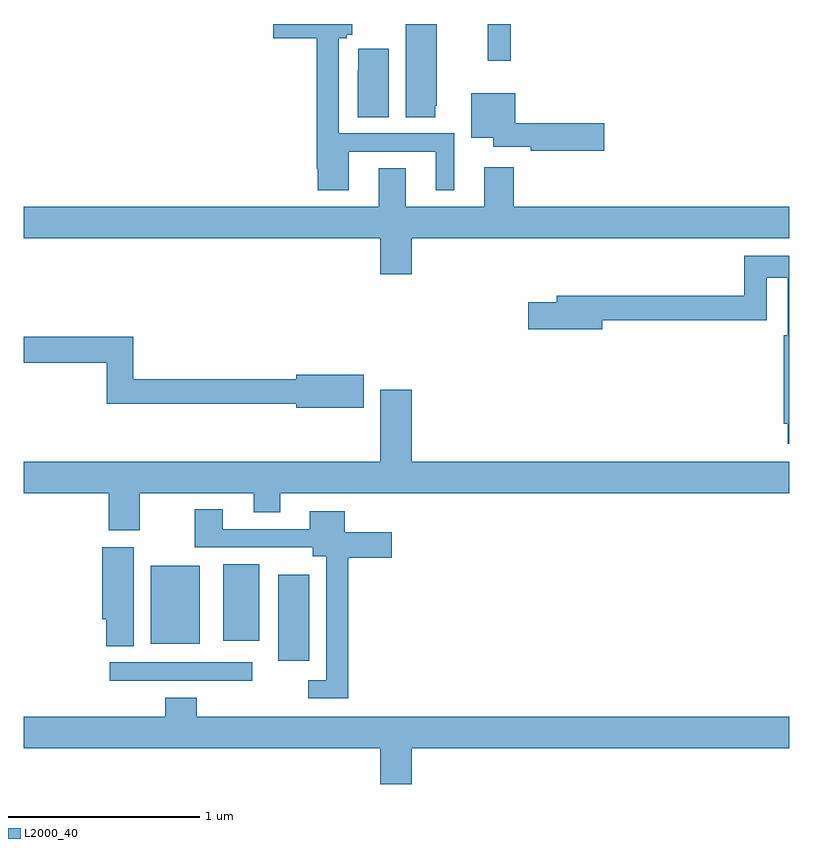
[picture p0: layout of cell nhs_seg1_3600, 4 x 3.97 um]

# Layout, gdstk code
import gdstk
lib = gdstk.Library(unit=1e-6, precision=1e-09)
def R(c, l, rs):  # rectangles x0, y0, x1, y1
    for r in rs: c.add(gdstk.rectangle(r[:2], r[2:], *l))
def P(c, l, *ps):  # polygons
    for p in ps: c.add(gdstk.Polygon(p, *l))
L2000_40 = (2000, 40)

nhs_seg1_3600 = lib.new_cell('nhs_seg1_3600')
R(nhs_seg1_3600, L2000_40, [(307.449,534.768,308.194,534.864), (308.33,534.873,308.491,535.321), (307.664,534.962,307.921,535.369), (308.042,534.977,308.23,535.375), (309.424,538.008,309.545,538.199)])
P(nhs_seg1_3600, L2000_40, [(309.151,537.771),(309.157,537.771),(309.157,538.199),(308.996,538.199),(308.996,537.712),(309.151,537.712)],
  [(308.698,537.531),(309.152,537.531),(309.152,537.33),(309.25,537.33),(309.25,537.627),(308.646,537.627),(308.646,538.124),(308.688,538.124),(308.688,538.144),(308.717,538.144),(308.717,538.199),(308.304,538.199),(308.304,538.124),(308.53,538.124),(308.53,537.442),(308.537,537.442),(308.537,537.33),(308.698,537.33)],
  [(308.908,538.069),(308.747,538.069),(308.747,537.956),(308.744,537.956),(308.744,537.712),(308.908,537.712)],
  [(310.033,537.68),(309.568,537.68),(309.568,537.838),(309.338,537.838),(309.338,537.605),(309.452,537.605),(309.452,537.557),(309.648,537.557),(309.648,537.538),(310.033,537.538)],
  [(309.028,537.08),(311,537.08),(311,537.244),(309.56,537.244),(309.56,537.451),(309.407,537.451),(309.407,537.244),(308.995,537.244),(308.995,537.446),(308.855,537.446),(308.855,537.244),(307,537.244),(307,537.08),(308.864,537.08),(308.864,536.892),(309.028,536.892)],
  [(311,536.988),(310.765,536.988),(310.765,536.779),(309.785,536.779),(309.785,536.745),(309.636,536.745),(309.636,536.603),(310.024,536.603),(310.024,536.65),(310.881,536.65),(310.881,536.872),(310.992,536.872),(310.992,536.573),(310.972,536.573),(310.972,536.11),(310.991,536.11),(310.991,536.006),(311,536.006)],
  [(308.776,536.366),(308.423,536.366),(308.423,536.342),(307.571,536.342),(307.571,536.564),(307,536.564),(307,536.428),(307.435,536.428),(307.435,536.214),(308.423,536.214),(308.423,536.195),(308.776,536.195)],
  [(307.605,535.748),(308.201,535.748),(308.201,535.649),(308.341,535.649),(308.341,535.748),(311,535.748),(311,535.912),(309.028,535.912),(309.028,536.287),(308.864,536.287),(308.864,535.912),(307,535.912),(307,535.748),(307.445,535.748),(307.445,535.554),(307.605,535.554)],
  [(308.696,535.409),(308.923,535.409),(308.923,535.543),(308.677,535.543),(308.677,535.654),(308.495,535.654),(308.495,535.56),(308.041,535.56),(308.041,535.663),(307.894,535.663),(307.894,535.464),(308.51,535.464),(308.51,535.418),(308.58,535.418),(308.58,534.771),(308.487,534.771),(308.487,534.675),(308.696,534.675)],
  [(307.576,535.465),(307.409,535.465),(307.409,535.089),(307.43,535.089),(307.43,534.949),(307.576,534.949)],
  [(309.028,534.416),(311,534.416),(311,534.58),(307.904,534.58),(307.904,534.679),(307.739,534.679),(307.739,534.58),(307,534.58),(307,534.416),(308.864,534.416),(308.864,534.228),(309.028,534.228)])

lib.write_gds('nhs_seg1_3600.gds')
